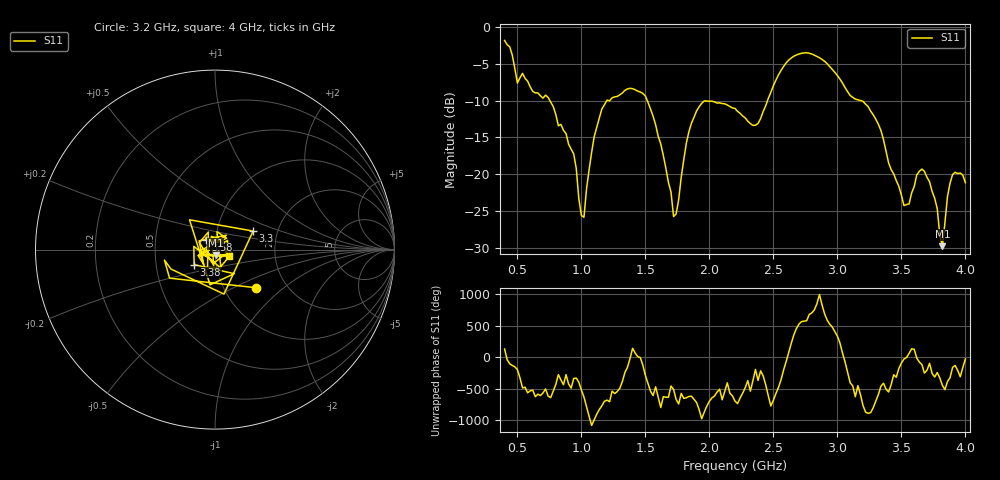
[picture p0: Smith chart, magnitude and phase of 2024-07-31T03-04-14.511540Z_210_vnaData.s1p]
!Created with skrf (http://scikit-rf.org).
# Hz S RI R 50.0
!freq ReS11 ImS11
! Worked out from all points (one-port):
!   181 points, 400 MHz to 4 GHz, reference 50 ohm
!   lowest |S11| = -29.8 dB at 3.82 GHz (marker M1), VSWR 1.07, Z = 50.4 - j3.24 ohm
!   |S11| at or under -10 dB: 753.9 MHz to 1.198 GHz (444.6 MHz wide, 45.5 % of centre); 1.514 GHz to 2.454 GHz (939.8 MHz wide, 47.4 % of centre); 3.181 GHz to end of sweep (the widest 3 of 4)
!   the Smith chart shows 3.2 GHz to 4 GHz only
!   S11 on the Smith chart (normalised r, x): 3.2 GHz: 1.41, -0.66; 3.3 GHz: 1.50, +0.33; 3.38 GHz: 0.78, -0.13; 3.58 GHz: 0.90, +0.10; 4 GHz: 1.17, -0.09
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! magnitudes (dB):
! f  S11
! 400 MHz  -1.8
! 500 MHz  -7.6
! 740 MHz  -9.6
! 860 MHz  -14.0
! 940 MHz  -17.2
! 1.02 GHz  -25.8
! 1.1 GHz  -14.9
! 1.16 GHz  -11.1
! 1.3 GHz  -9.2
! 1.5 GHz  -9.4
! 1.62 GHz  -15.9
! 1.72 GHz  -25.7
! 1.76 GHz  -23.4
! 1.82 GHz  -15.8
! 1.9 GHz  -11.4
! 2.2 GHz  -11.1
! 2.38 GHz  -13.1
! 2.66 GHz  -4.0
! 3.1 GHz  -9.3
! 3.2 GHz  -10.1
! 3.3 GHz  -12.5
! 3.38 GHz  -16.9
! 3.56 GHz  -24.0
! 3.58 GHz  -22.5
! 3.68 GHz  -19.6
! 3.82 GHz  -29.8
! 3.9 GHz  -20.0
! 4 GHz  -21.1
